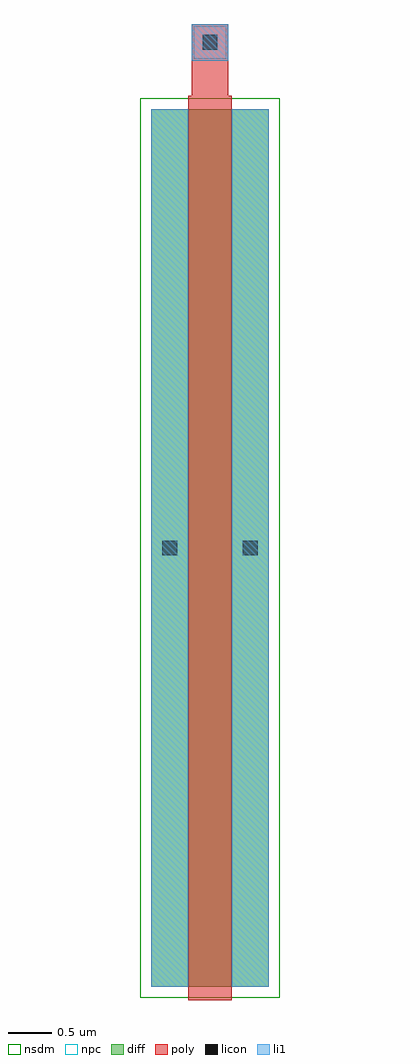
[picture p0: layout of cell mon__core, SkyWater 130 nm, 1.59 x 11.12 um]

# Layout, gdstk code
import gdstk
lib = gdstk.Library(unit=1e-6, precision=1e-09)
def R(c, l, rs):  # rectangles x0, y0, x1, y1
    for r in rs: c.add(gdstk.rectangle(r[:2], r[2:], *l))
diff = (65, 20)
poly = (66, 20)
licon = (66, 44)
li1 = (67, 20)
nsdm = (93, 44)
npc = (95, 20)

mon__core = lib.new_cell('mon__core')
R(mon__core, diff, [(0,0,1.34,10)])
R(mon__core, poly, [(0.42,-0.15,0.92,10), (0.42,10,0.92,10.15), (0.42,10,0.92,10.15), (0.46,10.15,0.88,10.97)])
R(mon__core, licon, [(0.125,4.915,0.295,5.085), (1.045,4.915,1.215,5.085), (0.585,10.675,0.755,10.845)])
R(mon__core, li1, [(0,0,0.42,10), (0.92,0,1.34,10), (0.46,10.55,0.88,10.97)])
R(mon__core, nsdm, [(-0.125,-0.125,1.465,10.125)])
R(mon__core, npc, [(0.485,10.575,0.855,10.945)])

lib.write_gds('mon__core.gds')
